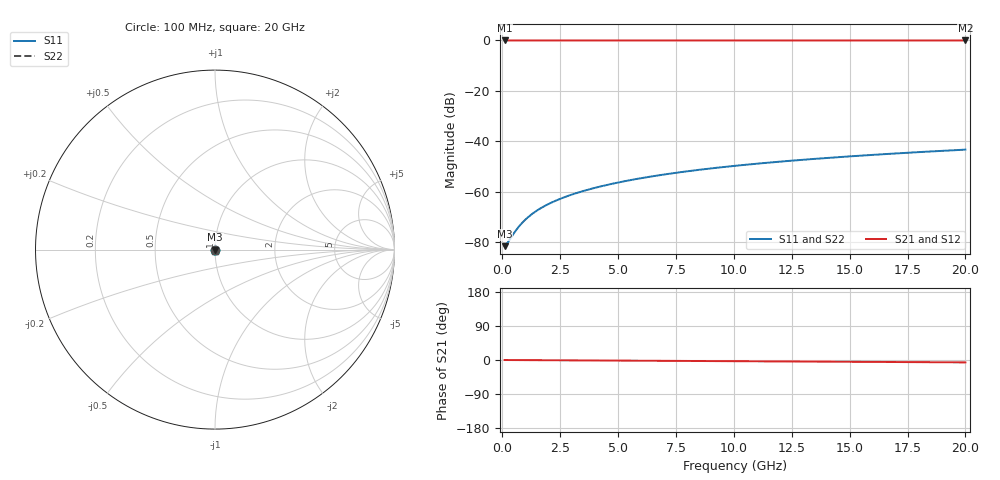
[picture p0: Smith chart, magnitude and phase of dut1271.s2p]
! Touchstone file exported from HFSS 2026.1.0
!  File:  C:/ffzhzh/LocalFiles/Ansys_Project_Files/temp_train_TSV_1271_1783194123_51560.aedt
!  Generated:  03:43:23 AM Jul  5, 2026
!  Design:  TSV
!  Project:  temp_train_TSV_1271_1783194123_51560
! Variables:
!  h_bsmrdl = 2um
!  h_ox = 20um
!  h_rdl = 5um
!  h_sub = 60.63um
!  h_tmrdl = 5um
!  h_tsv = 60.63um
!  h_via = 3um
!  l_bsmrdl = 300um
!  l_sub = 423.68um
!  l_tmrdl = 200um
!  m_sub = 200um
!  pitch = 44.32um
!  r_tsv = 11.84um
!  s_tmrdl = 10um
!  w_bsmrdl = 18um
!  w_sub = 500um
!  w_tmrdl = 12um
!  x_tsv_center1 = 206um
!  x_tsv_center2 = 524um
!  x_tsv_center3 = 736um
!  x_tsv_center4 = 1054um
!  x_tsv_center5 = 1266um
!  x_tsv_center6 = 1584um
# GHz S MA R 50.000000
! Terminal data exported
! Port[1] = TSV1_1_T1
! Port[2] = TSV1_1_T2
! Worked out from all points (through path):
!   200 points, 100 MHz to 20 GHz, reference 50 ohm
!   highest |S21| = 0.00 dB at 100 MHz (marker M1); lowest = 0.0 dB at 20 GHz (marker M2)
!   lowest |S11| = -81.7 dB at 100 MHz (marker M3), VSWR 1.00, Z = 50 - j5.56e-06 ohm
!   |S11| at or under -10 dB: start of sweep to end of sweep
!   |S22| runs from -81.7 to -43.3 dB; largest |S21 - S12| = 3.2e-15
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0.1  8.262e-05 -0.0  0.9999 -0.0  0.9999 -0.0  8.262e-05 -0.0
! Gamma 0 0 0 0
! Port Impedance 50 0 50 0
0.2  9.267e-05 -1.6  0.9999 -0.1  0.9999 -0.1  9.267e-05 -1.6
0.3  0.0001079 -5.0  0.9999 -0.1  0.9999 -0.1  0.0001079 -5.0
0.6  0.0001727 -20.0  0.9998 -0.2  0.9998 -0.2  0.0001727 -20.0
0.7  0.000198 -24.9  0.9998 -0.2  0.9998 -0.2  0.000198 -24.9
0.9  0.0002514 -33.5  0.9998 -0.3  0.9998 -0.3  0.0002514 -33.5
1.2  0.0003354 -43.3  0.9998 -0.4  0.9998 -0.4  0.0003354 -43.4
1.5  0.0004217 -50.4  0.9997 -0.5  0.9997 -0.5  0.0004217 -50.4
1.9  0.000539 -56.9  0.9997 -0.6  0.9997 -0.6  0.000539 -56.9
2.4  0.0006885 -62.3  0.9997 -0.8  0.9997 -0.8  0.0006885 -62.3
2.9  0.0008412 -65.9  0.9996 -0.9  0.9996 -0.9  0.0008412 -65.9
3.5  0.001029 -69.0  0.9996 -1.1  0.9996 -1.1  0.001029 -69.0
4.2  0.001252 -71.6  0.9996 -1.3  0.9996 -1.3  0.001252 -71.6
5  0.001514 -73.8  0.9995 -1.6  0.9995 -1.6  0.001514 -73.8
5.9  0.001815 -75.7  0.9995 -1.9  0.9995 -1.9  0.001815 -75.7
6.8  0.002121 -77.3  0.9995 -2.2  0.9995 -2.2  0.002121 -77.3
8.3  0.002639 -79.4  0.9994 -2.6  0.9994 -2.6  0.002639 -79.4
10.1  0.003267 -81.5  0.9993 -3.2  0.9993 -3.2  0.003267 -81.5
11.7  0.003831 -83.0  0.9993 -3.7  0.9993 -3.7  0.003831 -83.0
13.4  0.004433 -84.4  0.9992 -4.2  0.9992 -4.2  0.004433 -84.4
16.7  0.005613 -86.6  0.9991 -5.3  0.9991 -5.3  0.005613 -86.6
20  0.006812 -88.4  0.999 -6.3  0.999 -6.3  0.006812 -88.4
